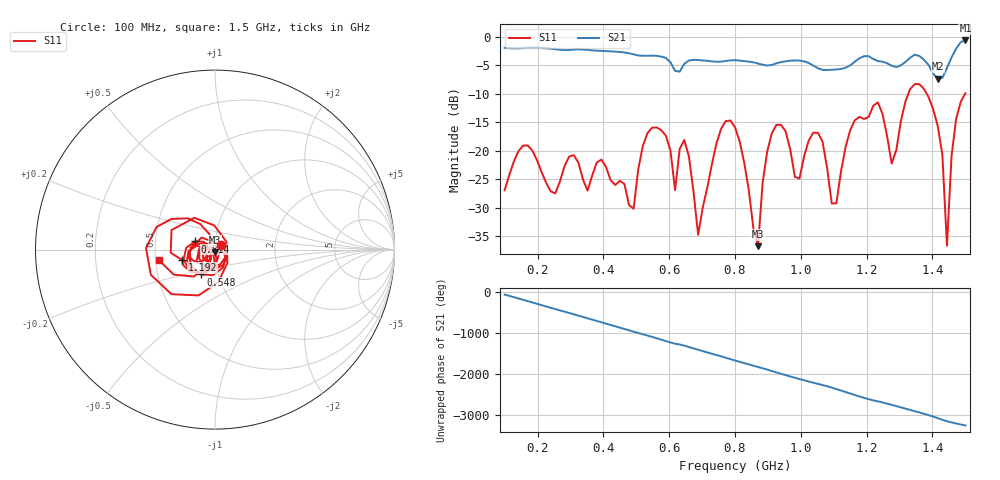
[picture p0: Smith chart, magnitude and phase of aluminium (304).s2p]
! NanoVNA-App
! Date: 2025-09-25 14:57:39
! Start: 100MHz Stop: 1,5GHz Points: 101
! S-Parameter data: F S11 S21 S12 S22
# Hz S RI R 50
!  Frequency  S11_Real  S11_Imag  S21_Real  S21_Imag  S12_Real  S12_Imag  S22_Real  S22_Imag
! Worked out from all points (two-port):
!   101 points, 100 MHz to 1.5 GHz, reference 50 ohm
!   highest |S21| = -0.63 dB at 1.5 GHz (marker M1); lowest = -7.3 dB at 1.416 GHz (marker M2)
!   |S21| within 3 dB of the highest: start of sweep to 585.8 MHz; 1.458 GHz to end of sweep (the widest 2 of 4)
!   lowest |S11| = -36.8 dB at 870 MHz (marker M3), VSWR 1.03, Z = 49.9 - j1.44 ohm
!   |S11| at or under -10 dB: start of sweep to 1.327 GHz; 1.383 GHz to 1.499 GHz (116.6 MHz wide, 8.09 % of centre)
!   S12 and S22 are empty: the file has one direction only
!   S11 on the Smith chart (normalised r, x): 100 MHz: 1.07, +0.06; 548 MHz: 0.82, -0.23; 814 MHz: 0.80, +0.07; 1.192 GHz: 0.69, -0.08; 1.5 GHz: 0.52, -0.07
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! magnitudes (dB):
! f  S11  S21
! 100 MHz  -27.0  -1.9
! 338 MHz  -25.0  -2.2
! 492 MHz  -30.2  -3.1
! 548 MHz  -16.0  -3.3
! 576 MHz  -16.4  -3.5
! 618 MHz  -26.9  -6.0
! 646 MHz  -18.1  -4.7
! 688 MHz  -34.8  -4.1
! 800 MHz  -15.9  -4.1
! 814 MHz  -18.4  -4.2
! 870 MHz  -36.8  -4.7
! 912 MHz  -16.9  -4.9
! 996 MHz  -24.9  -4.2
! 1.038 GHz  -16.8  -5.0
! 1.108 GHz  -29.3  -5.7
! 1.192 GHz  -14.4  -3.4
! 1.276 GHz  -22.3  -5.1
! 1.346 GHz  -8.3  -3.1
! 1.416 GHz  -15.7  -7.3
! 1.444 GHz  -36.7  -5.5
! 1.458 GHz  -20.9  -3.6
! 1.5 GHz  -9.9  -0.6
